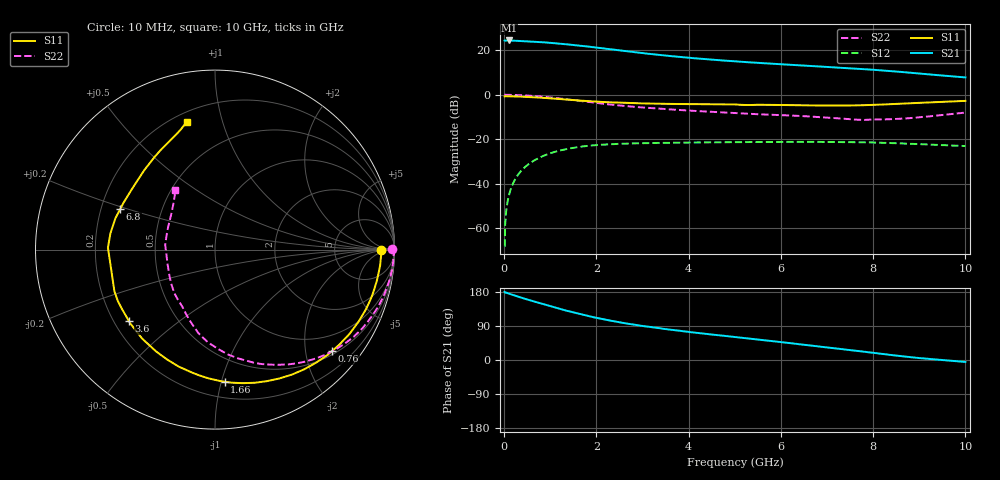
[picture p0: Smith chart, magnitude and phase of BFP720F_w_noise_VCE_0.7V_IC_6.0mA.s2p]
! Infineon Technologies  Discrete & RF Semiconductors
! BFP720F
! VCE =  0.7 V,  IC =  6.0 mA
! Common Emitter S-Parameters:  Jan 2016
# GHz  S  MA  R  50
!  f  S11  S21  S12  S22
! GHz  MAG  ANG  MAG  ANG  MAG  ANG  MAG  ANG
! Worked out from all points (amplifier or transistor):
!   233 points, 10 MHz to 10 GHz, reference 50 ohm
!   highest |S21| = 24.4 dB at 100 MHz (marker M1)
!   |S21| within 3 dB of that: start of sweep to 1.922 GHz
!   unconditionally stable (mu >= 1): start of sweep to 10.03236 MHz; 7.856 GHz to end of sweep
!   at 200 MHz: K = 0.04, MSG = 31.8 dB, |S12| = -39.4 dB
!   at 1.74 GHz: K = 0.24, MSG = 22.5 dB, |S12| = -23.1 dB
!   at 10 GHz: K = 1.26, MAG = 12.3 dB, |S12| = -23.0 dB
!   lowest NFmin = 0.45 dB at 450 MHz
!   S11 on the Smith chart (normalised r, x): 10 MHz: 25, -1; 760 MHz: 0.58, -2.57; 1.66 GHz: 0.32, -1.02; 3.6 GHz: 0.26, -0.34; 6.8 GHz: 0.28, +0.19; 10 GHz: 0.25, +0.77
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0.01  0.9223 -0.1  16.5 179.8  0.0004 -42.1  0.9854 0.1
0.015  0.9246 -0.6  16.41 178.9  0.0004 72.8  0.9915 -0.7
0.02  0.9269 -1.0  16.33 177.9  0.0011 92.1  0.9977 -1.4
0.05  0.9247 -2.8  16.53 177.6  0.0027 88.6  0.9948 -2.1
0.1  0.9243 -5.4  16.53 175.4  0.0053 87.0  0.9951 -4.0
0.42  0.9018 -22.7  15.93 162.6  0.0221 76.1  0.9693 -17.1
0.76  0.8632 -40.8  15.25 150.3  0.0385 65.0  0.9195 -30.5
1  0.8316 -53.4  14.63 141.8  0.0487 57.5  0.8719 -39.7
1.2  0.8025 -63.5  14.03 135.1  0.0558 51.6  0.8281 -47.0
1.4  0.7748 -73.2  13.4 128.6  0.062 46.1  0.7825 -54.0
1.66  0.7381 -85.8  12.61 120.6  0.0682 39.5  0.723 -62.6
1.68  0.7355 -86.7  12.54 120.0  0.0686 39.0  0.7184 -63.2
2.02  0.6972 -100.5  11.38 110.7  0.0745 31.6  0.6509 -73.2
2.48  0.6624 -116.0  9.917 100.0  0.0792 23.2  0.5776 -84.5
3  0.6403 -129.5  8.586 89.8  0.0821 16.3  0.5182 -94.4
3.4  0.6277 -136.9  7.755 83.3  0.0832 12.0  0.4841 -99.6
3.6  0.6234 -140.2  7.395 80.2  0.0838 10.0  0.4689 -102.0
4.3  0.6133 -149.6  6.373 70.1  0.0852 4.1  0.4245 -108.7
5.1  0.5966 -162.1  5.53 59.3  0.0865 -1.8  0.3838 -116.0
6.8  0.5744 156.8  4.328 36.2  0.0875 -13.9  0.3166 -138.6
8.4  0.617 122.9  3.384 13.1  0.0825 -25.6  0.2834 160.7
10  0.7285 102.5  2.448 -5.2  0.0706 -31.8  0.3982 123.6
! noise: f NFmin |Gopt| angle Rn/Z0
0.45  0.45  0.44  3  0.16
0.9  0.47  0.42  10  0.17
1.8  0.52  0.38  19  0.16
2.4  0.56  0.37  28  0.14
5.5  0.74  0.34  62  0.09
10  0.97  0.25  -105  0.15
